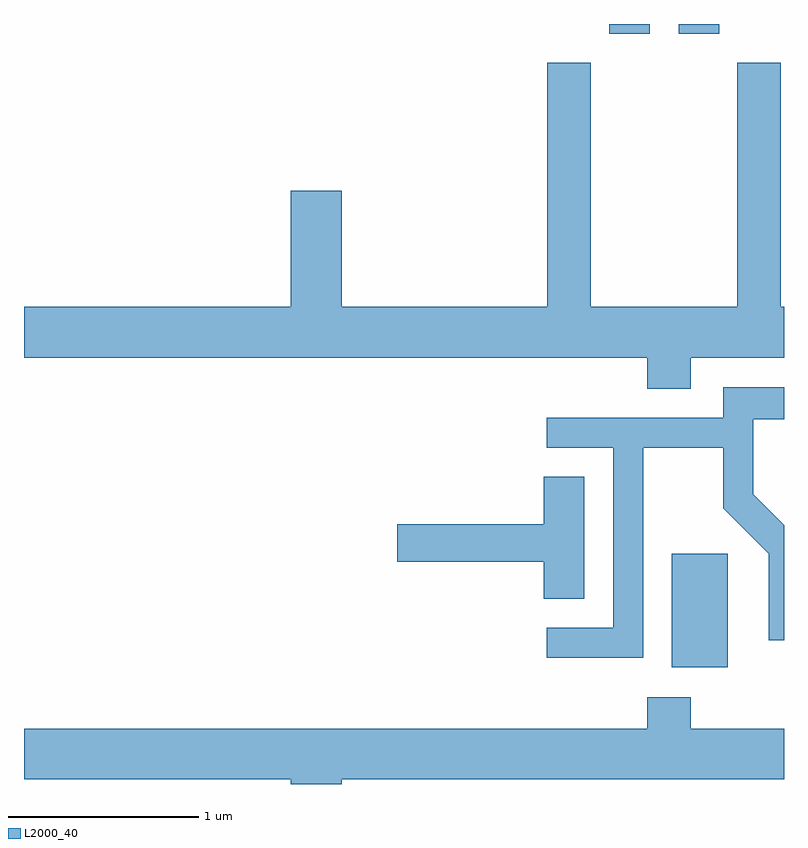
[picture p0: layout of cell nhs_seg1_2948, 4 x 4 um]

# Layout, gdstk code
import gdstk
lib = gdstk.Library(unit=1e-6, precision=1e-09)
def R(c, l, rs):  # rectangles x0, y0, x1, y1
    for r in rs: c.add(gdstk.rectangle(r[:2], r[2:], *l))
def P(c, l, *ps):  # polygons
    for p in ps: c.add(gdstk.Polygon(p, *l))
L2000_40 = (2000, 40)

nhs_seg1_2948 = lib.new_cell('nhs_seg1_2948')
R(nhs_seg1_2948, L2000_40, [(277.021,962.326,277.314,962.924), (276.691,965.661,276.904,965.712), (277.056,965.661,277.269,965.712)])
P(nhs_seg1_2948, L2000_40, [(277.119,963.956),(277.611,963.956),(277.611,964.224),(277.594,964.224),(277.594,965.509),(277.366,965.509),(277.366,964.224),(276.594,964.224),(276.594,965.509),(276.366,965.509),(276.366,964.224),(275.284,964.224),(275.284,964.834),(275.016,964.834),(275.016,964.224),(273.611,964.224),(273.611,963.956),(276.891,963.956),(276.891,963.791),(277.119,963.791)],
  [(276.869,963.481),(277.291,963.481),(277.291,963.164),(277.531,962.924),(277.531,962.468),(277.611,962.468),(277.611,963.075),(277.449,963.237),(277.449,963.631),(277.611,963.631),(277.611,963.799),(277.291,963.799),(277.291,963.639),(276.363,963.639),(276.363,963.481),(276.711,963.481),(276.711,962.534),(276.363,962.534),(276.363,962.376),(276.869,962.376)],
  [(276.559,963.329),(276.346,963.329),(276.346,963.079),(275.576,963.079),(275.576,962.881),(276.346,962.881),(276.346,962.686),(276.559,962.686)],
  [(275.284,961.736),(277.611,961.736),(277.611,962.004),(277.119,962.004),(277.119,962.169),(276.891,962.169),(276.891,962.004),(273.611,962.004),(273.611,961.736),(275.016,961.736),(275.016,961.712),(275.284,961.712)])

lib.write_gds('nhs_seg1_2948.gds')
